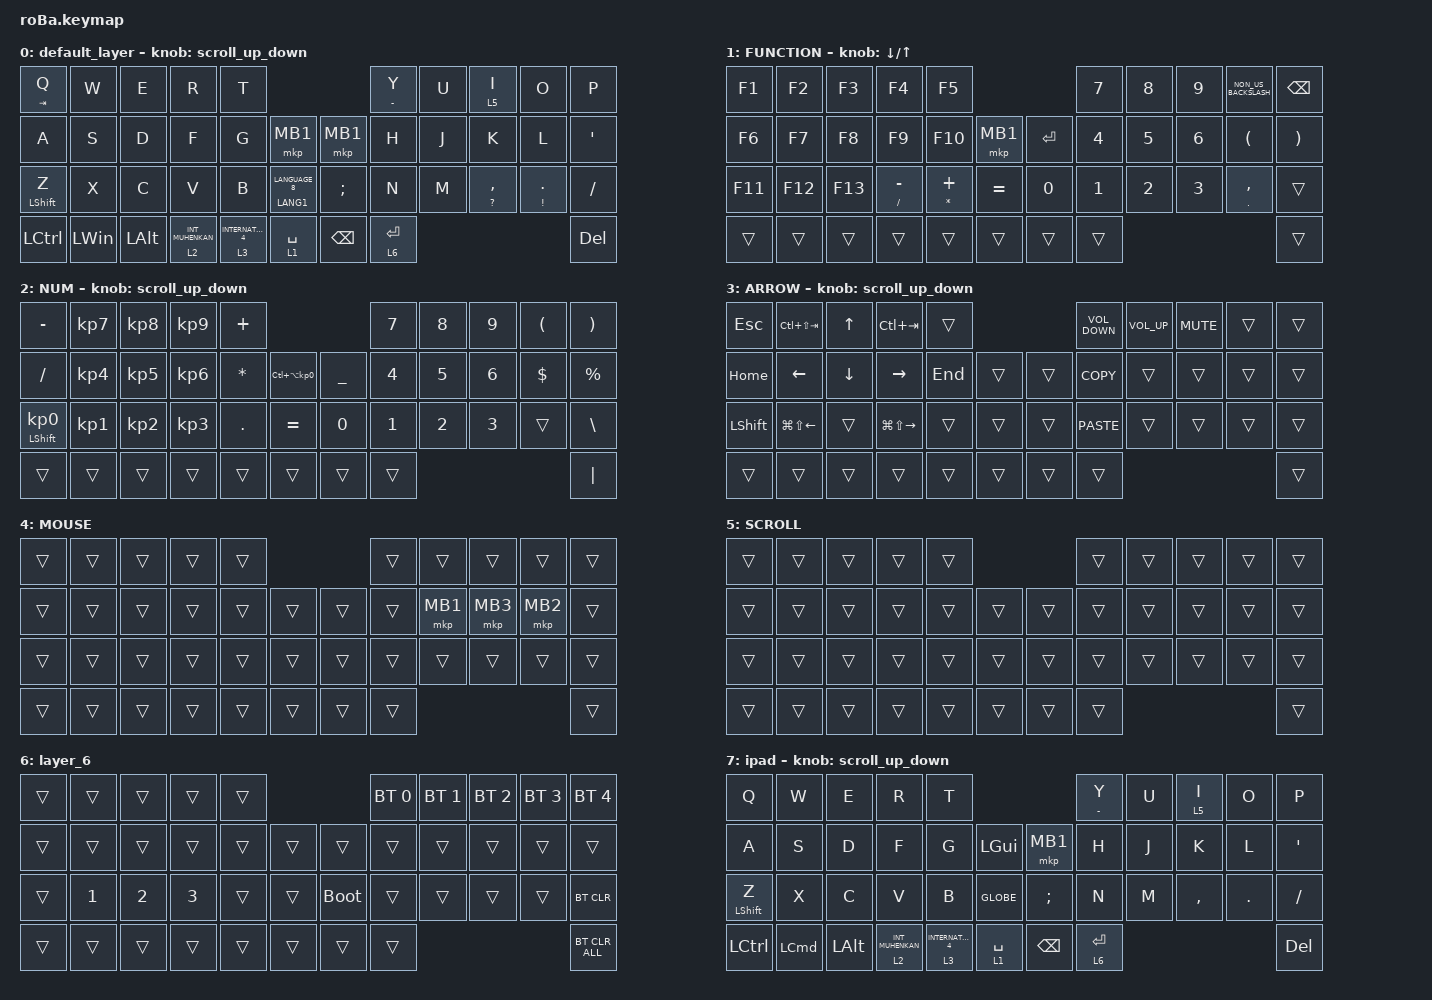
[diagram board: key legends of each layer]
#include <behaviors.dtsi>
#include <dt-bindings/zmk/bt.h>
#include <dt-bindings/zmk/keys.h>
#include <dt-bindings/zmk/pointing.h>

#define ZMK_POINTING_DEFAULT_SCRL_VAL 100

&mt {
    flavor = "balanced";
    quick-tap-ms = <0>;
};

&trackball {
    automouse-layer = <4>;
    scroll-layers = <5>;

    // arrows {
    //     layers = <3>;
    //     bindings =
    //         <&kp RIGHT_ARROW>,
    //         <&kp LEFT_ARROW>,
    //         <&kp UP_ARROW>,
    //         <&kp DOWN_ARROW>;
    //     tick = <10>;
    //     wait-ms = <5>;
    //     tap-ms = <5>;
    // };
};

/ {
    combos {
        compatible = "zmk,combos";

        tab {
            bindings = <&kp TAB>;
            key-positions = <11 12>;
        };

        shift_tab {
            bindings = <&kp LS(TAB)>;
            key-positions = <12 13>;
        };

        muhennkann {
            bindings = <&to_layer_0 INT_MUHENKAN>;
            key-positions = <11 10>;
        };

        double_quotation {
            bindings = <&kp DOUBLE_QUOTES>;
            key-positions = <20 21>;
        };

        eq {
            bindings = <&kp EQUAL>;
            key-positions = <24 25>;
        };

        henkan {
            bindings = <&kp CLCK>;
            key-positions = <3 4>;
        };

        esc {
            bindings = <&kp ESCAPE>;
            key-positions = <0 1>;
        };
    };

    macros {
        to_layer_0: to_layer_0 {
            compatible = "zmk,behavior-macro-one-param";
            #binding-cells = <1>;
            bindings = <&to 0 &macro_param_1to1 &kp MACRO_PLACEHOLDER>;
            label = "TO_LAYER_0";
        };

        btwin: btwin {
            compatible = "zmk,behavior-macro";
            #binding-cells = <0>;
            bindings = <&bt BT_SEL 0>, <&macro_wait_time 200>, <&to 7>;

            label = "BTWIN";
        };
    };

    behaviors {
        scroll_up_down: behavior_sensor_rotate_mouse_wheel_up_down {
            compatible = "zmk,behavior-sensor-rotate";
            #sensor-binding-cells = <0>;
            bindings = <&msc SCRL_DOWN>, <&msc SCRL_UP>;

            // 追加: スクロールのタップ時間を設定 (20ms)

            tap-ms = <20>;
        };

        lt_to_layer_0: lt_to_layer_0 {
            compatible = "zmk,behavior-hold-tap";
            label = "LAYER_TAP_TO_0";
            bindings = <&mo>, <&to_layer_0>;

            #binding-cells = <2>;
            tapping-term-ms = <200>;
        };
    };

    keymap {
        compatible = "zmk,keymap";

        default_layer {
            bindings = <
&mt TAB Q         &kp W         &kp E         &kp R                          &kp T                                                                      &mt MINUS Y  &kp U  &lt 5 I             &kp O                &kp P
&kp A             &kp S         &kp D         &kp F                          &kp G                             &mkp MB1                  &mkp MB1       &kp H        &kp J  &kp K               &kp L                &kp SQT
&mt LEFT_SHIFT Z  &kp X         &kp C         &kp V                          &kp B                             &mt LANG1 LANGUAGE_8      &kp SEMICOLON  &kp N        &kp M  &mt QUESTION COMMA  &mt EXCLAMATION DOT  &kp SLASH
&kp LCTRL         &kp LEFT_WIN  &kp LEFT_ALT  &lt_to_layer_0 2 INT_MUHENKAN  &lt_to_layer_0 3 INTERNATIONAL_4  &lt 1 SPACE               &kp BACKSPACE  &lt 6 ENTER                                                  &kp DEL
            >;

            sensor-bindings = <&scroll_up_down>;
        };

        FUNCTION {
            bindings = <
&kp F1   &kp F2   &kp F3   &kp F4           &kp F5                                      &kp NUMBER_7  &kp NUMBER_8  &kp NUMBER_9  &kp NON_US_BACKSLASH  &kp BACKSPACE
&kp F6   &kp F7   &kp F8   &kp F9           &kp F10        &mkp MB1       &kp ENTER     &kp NUMBER_4  &kp NUMBER_5  &kp NUMBER_6  &kp LEFT_PARENTHESIS  &kp RIGHT_PARENTHESIS
&kp F11  &kp F12  &kp F13  &mt SLASH MINUS  &mt STAR PLUS  &kp EQUAL      &kp NUMBER_0  &kp NUMBER_1  &kp NUMBER_2  &kp NUMBER_3  &mt PERIOD COMMA      &trans
&trans   &trans   &trans   &trans           &trans         &trans         &trans        &trans                                                          &trans
            >;

            sensor-bindings = <&inc_dec_kp DOWN_ARROW UP_ARROW>;
        };

        NUM {
            bindings = <
&kp MINUS                   &kp KP_NUMBER_7  &kp KP_NUMBER_8  &kp KP_NUMBER_9  &kp PLUS                                                   &kp NUMBER_7  &kp NUMBER_8  &kp NUMBER_9  &kp LEFT_PARENTHESIS  &kp RIGHT_PARENTHESIS
&kp SLASH                   &kp KP_NUMBER_4  &kp KP_NUMBER_5  &kp KP_NUMBER_6  &kp ASTERISK  &kp LC(LA(KP_NUMBER_0))      &kp UNDERSCORE  &kp NUMBER_4  &kp NUMBER_5  &kp NUMBER_6  &kp DOLLAR            &kp PERCENT
&mt LEFT_SHIFT KP_NUMBER_0  &kp KP_NUMBER_1  &kp KP_NUMBER_2  &kp KP_NUMBER_3  &kp PERIOD    &kp EQUAL                    &kp NUMBER_0    &kp NUMBER_1  &kp NUMBER_2  &kp NUMBER_3  &trans                &kp BACKSLASH
&trans                      &trans           &trans           &trans           &trans        &trans                       &trans          &trans                                                          &kp PIPE
            >;

            sensor-bindings = <&scroll_up_down>;
        };

        ARROW {
            bindings = <
&kp ESCAPE      &kp LC(LS(TAB))         &kp UP_ARROW    &kp LC(TAB)              &trans                       &kp C_VOLUME_DOWN  &kp C_VOLUME_UP  &kp K_MUTE  &trans  &trans
&kp HOME        &kp LEFT_ARROW          &kp DOWN_ARROW  &kp RIGHT_ARROW          &kp END  &trans      &trans  &kp K_COPY         &trans           &trans      &trans  &trans
&kp LEFT_SHIFT  &kp LG(LS(LEFT_ARROW))  &trans          &kp LG(LS(RIGHT_ARROW))  &trans   &trans      &trans  &kp K_PASTE        &trans           &trans      &trans  &trans
&trans          &trans                  &trans          &trans                   &trans   &trans      &trans  &trans                                                  &trans
            >;

            sensor-bindings = <&scroll_up_down>;
        };

        MOUSE {
            bindings = <
&trans  &trans  &trans  &trans  &trans                      &trans  &trans    &trans    &trans    &trans
&trans  &trans  &trans  &trans  &trans  &trans      &trans  &trans  &mkp MB1  &mkp MB3  &mkp MB2  &trans
&trans  &trans  &trans  &trans  &trans  &trans      &trans  &trans  &trans    &trans    &trans    &trans
&trans  &trans  &trans  &trans  &trans  &trans      &trans  &trans                                &trans
            >;
        };

        SCROLL {
            bindings = <
&trans  &trans  &trans  &trans  &trans                      &trans  &trans  &trans  &trans  &trans
&trans  &trans  &trans  &trans  &trans  &trans      &trans  &trans  &trans  &trans  &trans  &trans
&trans  &trans  &trans  &trans  &trans  &trans      &trans  &trans  &trans  &trans  &trans  &trans
&trans  &trans  &trans  &trans  &trans  &trans      &trans  &trans                          &trans
            >;
        };

        layer_6 {
            bindings = <
&trans  &trans        &trans        &trans        &trans                           &bt BT_SEL 0  &bt BT_SEL 1  &bt BT_SEL 2  &bt BT_SEL 3  &bt BT_SEL 4
&trans  &trans        &trans        &trans        &trans  &trans      &trans       &trans        &trans        &trans        &trans        &trans
&trans  &kp NUMBER_1  &kp NUMBER_2  &kp NUMBER_3  &trans  &trans      &bootloader  &trans        &trans        &trans        &trans        &bt BT_CLR
&trans  &trans        &trans        &trans        &trans  &trans      &trans       &trans                                                  &bt BT_CLR_ALL
            >;
        };

        ipad {
            bindings = <
&kp Q             &kp W             &kp E         &kp R                          &kp T                                                             &mt MINUS Y  &kp U  &lt 5 I    &kp O       &kp P
&kp A             &kp S             &kp D         &kp F                          &kp G                             &kp LGUI         &mkp MB1       &kp H        &kp J  &kp K      &kp L       &kp SQT
&mt LEFT_SHIFT Z  &kp X             &kp C         &kp V                          &kp B                             &kp GLOBE        &kp SEMICOLON  &kp N        &kp M  &kp COMMA  &kp PERIOD  &kp SLASH
&kp LEFT_CONTROL  &kp LEFT_COMMAND  &kp LEFT_ALT  &lt_to_layer_0 2 INT_MUHENKAN  &lt_to_layer_0 3 INTERNATIONAL_4  &lt 1 SPACE      &kp BACKSPACE  &lt 6 ENTER                                &kp DEL
            >;

            sensor-bindings = <&scroll_up_down>;
        };
    };
};
